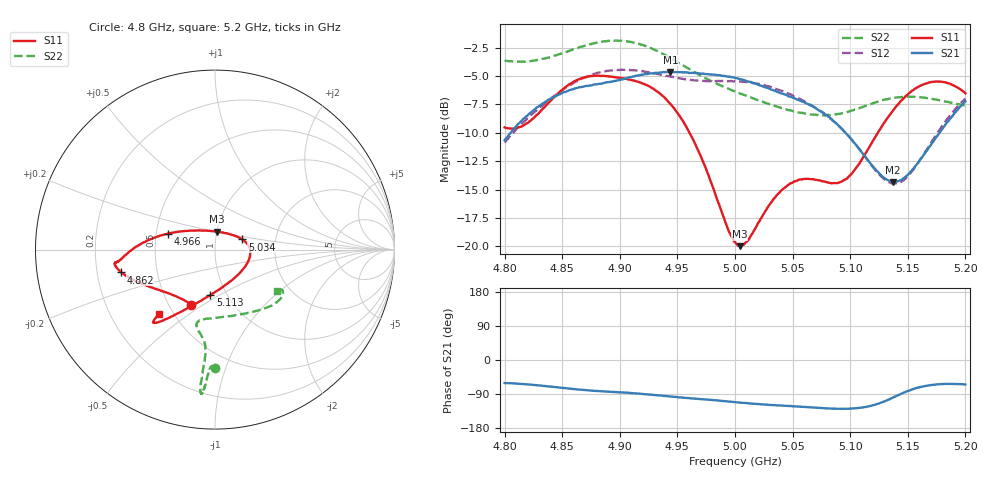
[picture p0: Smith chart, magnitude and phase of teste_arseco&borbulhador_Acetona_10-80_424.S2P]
! Network Analyzer HP8722D
! Hewlett-Packard
! Data name: Linha & Wilkinson
! Saver's name: Rodrigo Anjos
! Comments: Teste da utilização de aquisição
! continua pelo VNA HP8722D
! Time and date: 17/4/2025 17:53
!  Frequency  S11  S21  S12  S22
# HZ  S  MA R 50
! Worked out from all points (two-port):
!   401 points, 4.8 GHz to 5.2 GHz, reference 50 ohm
!   highest |S21| = -4.63 dB at 4.944 GHz (marker M1); lowest = -14.3 dB at 5.137 GHz (marker M2)
!   |S21| within 3 dB of the highest: 4.83 GHz to 5.067 GHz (236.6 MHz wide, 4.78 % of centre); 5.196167 GHz to end of sweep
!   lowest |S11| = -20.0 dB at 5.004 GHz (marker M3), VSWR 1.22, Z = 49.9 + j10 ohm
!   |S11| at or under -10 dB: 4.961 GHz to 5.124 GHz (163.3 MHz wide, 3.24 % of centre)
!   |S22| runs from -8.5 to -1.9 dB; largest |S21 - S12| = 0.88
!   S11 on the Smith chart (normalised r, x): 4.8 GHz: 0.64, -0.44; 4.862 GHz: 0.30, -0.11; 4.966 GHz: 0.57, +0.11; 5.034 GHz: 1.35, +0.16; 5.113 GHz: 0.84, -0.45; 5.2 GHz: 0.42, -0.39
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4.8e9  0.334 -113.6  0.2932 -60.8  0.2864 -175.1  0.6577 -90.1
4.819e9  0.3477 -133.7  0.3739 -64.2  0.3627 -173.7  0.6524 -91.7
4.862e9  0.5375 -166.3  0.497 -77.3  0.532 -177.1  0.7445 -94.0
4.867e9  0.55 -168.3  0.5039 -78.8  0.5468 -178.0  0.7595 -94.2
4.902e9  0.5499 -173.0  0.544 -85.5  0.6005 175.0  0.804 -95.6
4.934e9  0.4751 -178.9  0.5821 -93.6  0.5737 171.6  0.7179 -95.9
4.944e9  0.4236 176.5  0.5867 -96.3  0.5585 171.9  0.6758 -95.7
4.966e9  0.2788 161.5  0.5797 -102.1  0.5381 173.8  0.5804 -95.2
5e9  0.1043 98.7  0.5521 -111.2  0.5353 176.1  0.4802 -99.3
5.004e9  0.1001 85.0  0.5458 -112.2  0.532 176.0  0.4719 -100.4
5.012e9  0.1072 59.5  0.5313 -114.5  0.5268 175.8  0.4554 -102.0
5.034e9  0.1625 20.5  0.4848 -119.3  0.4981 174.7  0.4158 -103.6
5.05e9  0.1908 4.3  0.4521 -122.3  0.4616 174.1  0.3945 -99.6
5.067e9  0.1977 -14.0  0.4151 -125.1  0.4164 173.6  0.3807 -90.7
5.093e9  0.1934 -58.5  0.3286 -128.8  0.3273 174.0  0.3855 -70.4
5.113e9  0.2551 -95.8  0.2481 -124.0  0.248 -179.6  0.4151 -54.9
5.134e9  0.3771 -117.0  0.1941 -103.5  0.1913 -156.4  0.4467 -43.0
5.137e9  0.3956 -118.8  0.1921 -99.5  0.1894 -151.6  0.4501 -41.6
5.15e9  0.4665 -124.7  0.2063 -82.0  0.2038 -131.7  0.4558 -36.8
5.168e9  0.5255 -129.0  0.2709 -67.2  0.2746 -113.4  0.4477 -32.3
5.184e9  0.5249 -130.7  0.3512 -63.0  0.3629 -107.2  0.4332 -31.1
5.2e9  0.4724 -131.0  0.4349 -64.5  0.4478 -106.6  0.4161 -33.4
